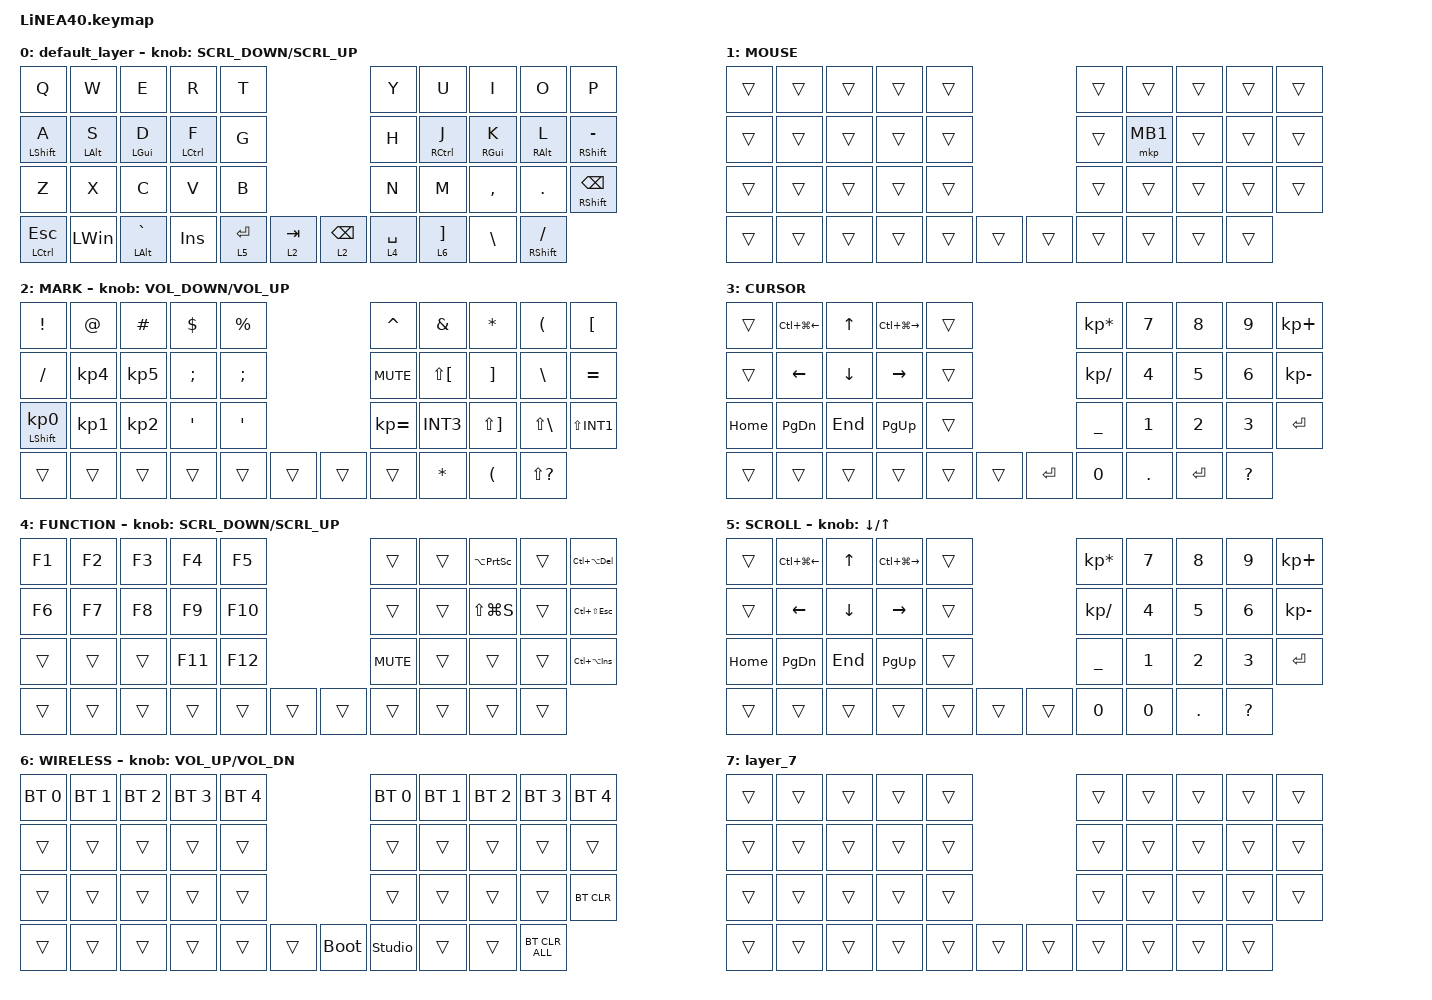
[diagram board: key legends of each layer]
#define ZMK_POINTING_DEFAULT_SCRL_VAL 150

#ifndef KEYMAP_DRAWER
#include "LiNEA40_hardware.dtsi"
#endif

#include <behaviors.dtsi>
#include <dt-bindings/zmk/bt.h>
#include <dt-bindings/zmk/keys.h>
#include <dt-bindings/zmk/pointing.h>

#define MOUSE 1
#define MARK 2
#define CURSOR 3
#define FUNCTION 4
#define SCROLL 5
#define WIRELESS 6

//mouse cursol

&mmv {
    delay-ms = <20>;
    trigger-period-ms = <5>;
    time-to-max-speed-ms = <100>;
    acceleration-exponent = <2>;
};

//mouse scroll

&msc {
    delay-ms = <3>;
    trigger-period-ms = <3>;
    time-to-max-speed-ms = <100>;
    acceleration-exponent = <0>;
};

&msc_input_listener {
    speed_up {
        layers = <FUNCTION>;
        input-processors = <&zip_wheel_scaler 3 1>; //スクロールを3倍速にする
    };
};

&trackball_listener {
    input-processors = <&mouse_runtime_input_processor>; // ★これを追加
    scroller {
        layers = <SCROLL>;
        input-processors =
            <&zip_xy_transform INPUT_TRANSFORM_Y_INVERT>,
            <&zip_xy_to_scroll_mapper>,
            <&scroll_runtime_input_processor>;

        // ★ここにも追加
    };
};

/ {
    combos {
        compatible = "zmk,combos";

        ZenkakuHankaku {
            bindings = <&kp GRAVE>;
            key-positions = <11 12>;
        };

        DeleteKey {
            bindings = <&kp DEL>;
            key-positions = <7 8>;
        };

        InsertKey {
            bindings = <&kp INS>;
            key-positions = <6 7>;
        };

        CenterClick {
            bindings = <&mkp MB3>;
            key-positions = <17 16>;
        };

        RightClick {
            bindings = <&mkp MB2>;
            key-positions = <18 17>;
        };

        PrevClick {
            bindings = <&mkp MB4>;
            key-positions = <27 28>;
        };

        ClickNext {
            bindings = <&mkp MB5>;
            key-positions = <26 27>;
        };
    };

    behaviors {
        re_kp: sensor_rotate_kp {
            compatible = "zmk,behavior-sensor-rotate-var";
            #sensor-binding-cells = <2>;
            bindings = <&kp>, <&kp>;
        };

        mouse_scrl: mouse_wheel_scrl {
            compatible = "zmk,behavior-sensor-rotate-var";
            #sensor-binding-cells = <2>;
            bindings = <&msc>, <&msc>;

            tap-ms = <20>;
        };

        HomeRowMods: HomeRowMods {
            compatible = "zmk,behavior-hold-tap";
            label = "HOMEROWMODS";
            #binding-cells = <2>;
            tapping-term-ms = <280>;
            quick-tap-ms = <175>;
            flavor = "balanced";
            require-prior-idle-ms = <150>;
            bindings = <&kp>, <&kp>;
        };
    };

    keymap {
        compatible = "zmk,keymap";

        default_layer {
            bindings = <
&kp Q                      &kp W                    &kp E                    &kp R                 &kp T                                      &kp Y        &kp U                 &kp I                     &kp O                     &kp P
&HomeRowMods LEFT_SHIFT A  &HomeRowMods LEFT_ALT S  &HomeRowMods LEFT_GUI D  &HomeRowMods LCTRL F  &kp G                                      &kp H        &HomeRowMods RCTRL J  &HomeRowMods RIGHT_GUI K  &HomeRowMods RIGHT_ALT L  &HomeRowMods RIGHT_SHIFT MINUS
&kp Z                      &kp X                    &kp C                    &kp V                 &kp B                                      &kp N        &kp M                 &kp COMMA                 &kp DOT                   &mt RIGHT_SHIFT BACKSPACE
&mt LCTRL ESC              &kp LEFT_WIN             &mt LEFT_ALT GRAVE       &kp INS               &lt 5 ENTER  &lt 2 TAB    &lt 2 BACKSPACE  &lt 4 SPACE                        &lt 6 RIGHT_BRACKET       &kp BACKSLASH             &mt RIGHT_SHIFT SLASH
            >;

            sensor-bindings = <&mouse_scrl SCRL_DOWN SCRL_UP>;
        };

        //1

        MOUSE {
            bindings = <
&trans  &trans  &trans  &trans  &trans                    &trans  &trans    &trans  &trans  &trans
&trans  &trans  &trans  &trans  &trans                    &trans  &mkp MB1  &trans  &trans  &trans
&trans  &trans  &trans  &trans  &trans                    &trans  &trans    &trans  &trans  &trans
&trans  &trans  &trans  &trans  &trans  &trans    &trans  &trans            &trans  &trans  &trans
            >;
        };

        //2

        MARK {
            bindings = <
&kp EXCLAMATION             &kp AT           &kp HASH         &kp DOLLAR     &kp PERCENT                      &kp CARET     &kp AMPERSAND  &kp ASTERISK           &kp LEFT_PARENTHESIS  &kp LBKT
&kp SLASH                   &kp KP_NUMBER_4  &kp KP_NUMBER_5  &kp SEMICOLON  &kp SEMICOLON                    &kp C_MUTE    &kp LS(LBKT)   &kp RIGHT_BRACKET      &kp BACKSLASH         &kp EQUAL
&mt LEFT_SHIFT KP_NUMBER_0  &kp KP_NUMBER_1  &kp KP_NUMBER_2  &kp APOS       &kp SQT                          &kp KP_EQUAL  &kp INT3       &kp LS(RIGHT_BRACKET)  &kp LS(BACKSLASH)     &kp LS(INT1)
&trans                      &trans           &trans           &trans         &trans         &trans    &trans  &trans                       &kp ASTERISK           &kp LEFT_PARENTHESIS  &kp LS(QUESTION)
            >;

            sensor-bindings = <&re_kp C_VOLUME_DOWN C_VOLUME_UP>;
        };

        //3

        CURSOR {
            bindings = <
&trans    &kp LC(LG(LEFT_ARROW))  &kp UP_ARROW  &kp LC(LG(RIGHT_ARROW))  &trans                       &kp KP_MULTIPLY  &kp NUMBER_7  &kp NUMBER_8  &kp NUMBER_9  &kp KP_PLUS
&trans    &kp LEFT_ARROW          &kp DOWN      &kp RIGHT_ARROW          &trans                       &kp KP_SLASH     &kp NUMBER_4  &kp NUMBER_5  &kp NUMBER_6  &kp KP_MINUS
&kp HOME  &kp PAGE_DOWN           &kp END       &kp PAGE_UP              &trans                       &kp UNDER        &kp NUMBER_1  &kp NUMBER_2  &kp NUMBER_3  &kp ENTER
&trans    &trans                  &trans        &trans                   &trans  &trans    &kp ENTER  &kp NUMBER_0                   &kp DOT       &kp ENTER     &kp QUESTION
            >;
        };

        //4

        FUNCTION {
            bindings = <
&kp F1  &kp F2  &kp F3  &kp F4   &kp F5                     &trans      &trans  &kp LA(PRINTSCREEN)  &trans  &kp LC(LA(DELETE))
&kp F6  &kp F7  &kp F8  &kp F9   &kp F10                    &trans      &trans  &kp LS(LG(S))        &trans  &kp LC(LS(ESCAPE))
&trans  &trans  &trans  &kp F11  &kp F12                    &kp C_MUTE  &trans  &trans               &trans  &kp LC(LA(INS))
&trans  &trans  &trans  &trans   &trans   &trans    &trans  &trans              &trans               &trans  &trans
            >;

            sensor-bindings = <&mouse_scrl SCRL_DOWN SCRL_UP>;
        };

        //5

        SCROLL {
            bindings = <
&trans    &kp LC(LG(LEFT_ARROW))  &kp UP_ARROW  &kp LC(LG(RIGHT_ARROW))  &trans                    &kp KP_MULTIPLY  &kp NUMBER_7  &kp NUMBER_8  &kp NUMBER_9  &kp KP_PLUS
&trans    &kp LEFT_ARROW          &kp DOWN      &kp RIGHT_ARROW          &trans                    &kp KP_SLASH     &kp NUMBER_4  &kp NUMBER_5  &kp NUMBER_6  &kp KP_MINUS
&kp HOME  &kp PAGE_DOWN           &kp END       &kp PAGE_UP              &trans                    &kp UNDER        &kp NUMBER_1  &kp NUMBER_2  &kp NUMBER_3  &kp ENTER
&trans    &trans                  &trans        &trans                   &trans  &trans    &trans  &kp NUMBER_0                   &kp NUMBER_0  &kp DOT       &kp QUESTION
            >;

            sensor-bindings = <&inc_dec_kp DOWN_ARROW UP_ARROW>;
        };

        //6

        WIRELESS {
            bindings = <
&bt BT_SEL 0  &bt BT_SEL 1  &bt BT_SEL 2  &bt BT_SEL 3  &bt BT_SEL 4                         &bt BT_SEL 0    &bt BT_SEL 1  &bt BT_SEL 2  &bt BT_SEL 3  &bt BT_SEL 4
&trans        &trans        &trans        &trans        &trans                               &trans          &trans        &trans        &trans        &trans
&trans        &trans        &trans        &trans        &trans                               &trans          &trans        &trans        &trans        &bt BT_CLR
&trans        &trans        &trans        &trans        &trans        &trans    &bootloader  &studio_unlock                &trans        &trans        &bt BT_CLR_ALL
            >;

            sensor-bindings = <&inc_dec_kp C_VOL_UP C_VOL_DN>;
        };

        layer_7 {
            bindings = <
&trans  &trans  &trans  &trans  &trans                    &trans  &trans  &trans  &trans  &trans
&trans  &trans  &trans  &trans  &trans                    &trans  &trans  &trans  &trans  &trans
&trans  &trans  &trans  &trans  &trans                    &trans  &trans  &trans  &trans  &trans
&trans  &trans  &trans  &trans  &trans  &trans    &trans  &trans          &trans  &trans  &trans
            >;
        };
    };
};
